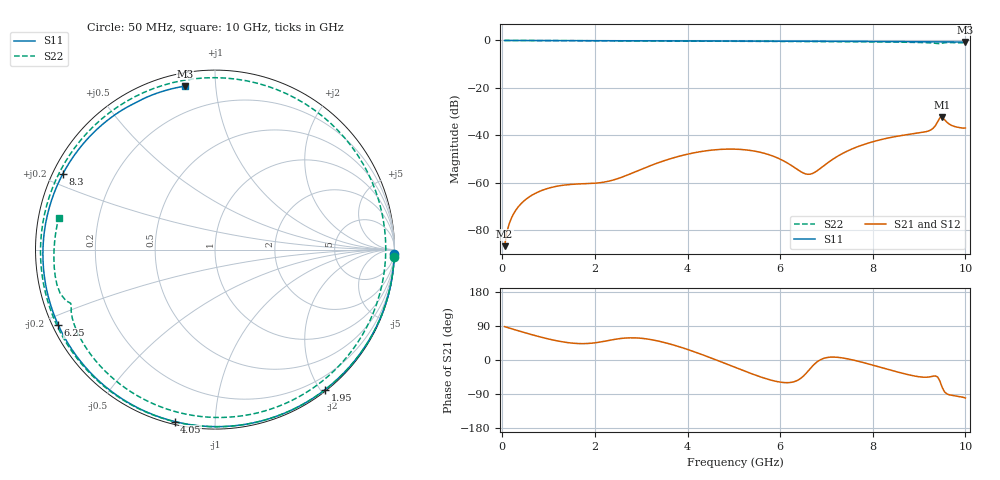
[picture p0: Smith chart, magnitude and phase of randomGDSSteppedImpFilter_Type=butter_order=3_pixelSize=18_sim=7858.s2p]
! freq	dB(S11)	phase(S11)	dB(S12)	phase(S12)
!  dB(S21)	phase(S21)	dB(S22)	phase(S22)
!S-par simulation data
#  GHz  S  DB  R 50
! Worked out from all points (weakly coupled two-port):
!   200 points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, 50 MHz to 10 GHz, reference 50 ohm
!   highest |S21| = -32.36 dB at 9.5 GHz (marker M1); lowest = -86.7 dB at 50 MHz (marker M2)
!   lowest |S11| = -0.7 dB at 10 GHz (marker M3), VSWR 26.10, Z = 3.24 + j41.5 ohm
!   |S11| at or under -10 dB: nowhere
!   |S22| runs from -1.3 to 0.0 dB; largest |S21 - S12| = 0
!   S11 on the Smith chart (normalised r, x): 50 MHz: 2, -83; 1.95 GHz: 0.02, -2.06; 4.05 GHz: 0.01, -0.79; 6.25 GHz: 0.02, -0.23; 8.3 GHz: 0.03, +0.23; 10 GHz: 0.06, +0.83
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0.05  -0.00 -1.4  -86.69 88.1  -86.69 88.1  -0.01 -2.5
0.1  -0.01 -2.7  -80.69 86.2  -80.69 86.2  -0.01 -4.9
0.35  -0.01 -9.5  -70.00 77.0  -70.00 77.0  -0.02 -17.1
0.65  -0.02 -17.6  -65.09 66.4  -65.09 66.4  -0.04 -31.6
1.2  -0.04 -32.3  -61.36 50.1  -61.36 50.1  -0.07 -58.2
1.75  -0.06 -46.6  -60.40 43.2  -60.40 43.2  -0.11 -84.7
1.95  -0.07 -51.8  -60.22 44.6  -60.22 44.6  -0.12 -94.4
2.65  -0.09 -69.5  -57.12 57.9  -57.12 57.9  -0.17 -129.0
3.4  -0.11 -87.8  -51.32 49.1  -51.32 49.1  -0.23 -168.6
4.05  -0.14 -103.2  -47.71 25.8  -47.71 25.8  -0.29 153.3
4.6  -0.17 -116.1  -46.07 1.0  -46.07 1.0  -0.34 117.7
5.05  -0.19 -126.5  -45.83 -20.6  -45.83 -20.6  -0.38 86.5
5.7  -0.23 -141.5  -47.79 -49.5  -47.79 -49.5  -0.41 40.5
6.25  -0.27 -154.4  -52.78 -58.8  -52.78 -58.8  -0.43 3.4
6.7  -0.31 -165.1  -56.05 -15.9  -56.05 -15.9  -0.45 -24.4
7.5  -0.39 175.0  -46.17 2.0  -46.17 2.0  -0.52 -68.0
8.3  -0.47 153.6  -41.24 -23.8  -41.24 -23.8  -0.65 -106.5
8.35  -0.48 152.1  -41.04 -25.5  -41.04 -25.5  -0.66 -108.8
9.2  -0.58 126.8  -38.17 -45.1  -38.17 -45.1  -0.97 -149.4
9.5  -0.63 117.3  -32.36 -72.7  -32.36 -72.7  -1.13 -161.1
9.7  -0.63 110.7  -35.79 -93.1  -35.79 -93.1  -0.90 -173.7
10  -0.67 100.4  -36.91 -100.3  -36.91 -100.3  -1.03 168.4
